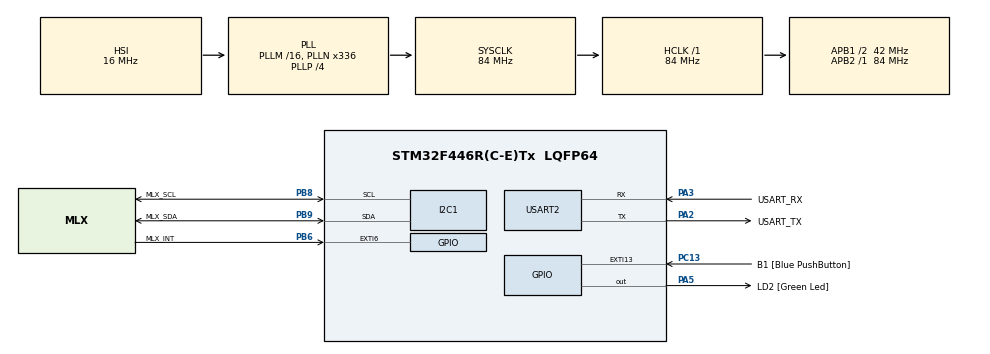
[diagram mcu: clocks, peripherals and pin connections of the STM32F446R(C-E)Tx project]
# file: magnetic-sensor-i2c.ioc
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I2C1.I2C_Mode=I2C_Standard
Mcu.Family=STM32F4
Mcu.Name=STM32F446R(C-E)Tx
Mcu.Package=LQFP64
NVIC.EXTI9_5_IRQn=true\:0\:0\:false\:false\:true\:true\:true\:true
NVIC.PriorityGroup=NVIC_PRIORITYGROUP_0
PA13.GPIO_Label=TMS
PA13.Mode=Serial_Wire
PA13.Signal=SYS_JTMS-SWDIO
PA14.GPIO_Label=TCK
PA14.Mode=Serial_Wire
PA14.Signal=SYS_JTCK-SWCLK
PA2.GPIO_Label=USART_TX
PA2.Mode=Asynchronous
PA2.Signal=USART2_TX
PA3.GPIO_Label=USART_RX
PA3.Mode=Asynchronous
PA3.Signal=USART2_RX
PA5.GPIO_Label=LD2 [Green Led]
PA5.Signal=GPIO_Output
PB3.GPIO_Label=SWO
PB3.Signal=SYS_JTDO-SWO
PB6.GPIO_Label=MLX_INT
PB6.GPIO_PuPd=GPIO_NOPULL
PB6.Signal=GPXTI6
PB8.GPIO_Label=MLX_SCL
PB8.Mode=I2C
PB8.Signal=I2C1_SCL
PB9.GPIO_Label=MLX_SDA
PB9.Mode=I2C
PB9.Signal=I2C1_SDA
PC13.GPIO_Label=B1 [Blue PushButton]
PC13.GPIO_ModeDefaultEXTI=GPIO_MODE_IT_FALLING
PC13.Signal=GPXTI13
PC14-OSC32_IN.Mode=LSE-External-Oscillator
PC14-OSC32_IN.Signal=RCC_OSC32_IN
PC15-OSC32_OUT.Mode=LSE-External-Oscillator
PC15-OSC32_OUT.Signal=RCC_OSC32_OUT
PH0-OSC_IN.Mode=HSE-External-Oscillator
PH0-OSC_IN.Signal=RCC_OSC_IN
PH1-OSC_OUT.Mode=HSE-External-Oscillator
PH1-OSC_OUT.Signal=RCC_OSC_OUT
ProjectManager.HeapSize=0x200
ProjectManager.StackSize=0x400
ProjectManager.TargetToolchain=STM32CubeIDE
RCC.48MHZClocksFreq_Value=84000000
RCC.AHBFreq_Value=84000000
RCC.APB1CLKDivider=RCC_HCLK_DIV2
RCC.APB1Freq_Value=42000000
RCC.APB1TimFreq_Value=84000000
RCC.APB2Freq_Value=84000000
RCC.APB2TimFreq_Value=84000000
RCC.CortexFreq_Value=84000000
RCC.FLatency-AdvancedSettings=FLASH_LATENCY_2
RCC.HCLKFreq_Value=84000000
RCC.HSE_VALUE=8000000
RCC.HSI_VALUE=16000000
RCC.PLLN=336
RCC.PLLP=RCC_PLLP_DIV4
RCC.SYSCLKFreq_VALUE=84000000
RCC.SYSCLKSource=RCC_SYSCLKSOURCE_PLLCLK
RCC.USBFreq_Value=168000000
RCC.VCOOutputFreq_Value=336000000
USART2.VirtualMode=VM_ASYNC
board=NUCLEO-F446RE

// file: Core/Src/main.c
/* USER CODE BEGIN Header */
/**
  ******************************************************************************
  * @file           : main.c
  * @brief          : Main program body
  ******************************************************************************
  * @attention
  *
  * Copyright (c) 2026 STMicroelectronics.
  * All rights reserved.
  *
  * This software is licensed under terms that can be found in the LICENSE file
  * in the root directory of this software component.
  * If no LICENSE file comes with this software, it is provided AS-IS.
  *
  ******************************************************************************
  */
/* USER CODE END Header */
#include "main.h"

/* USER CODE BEGIN Includes */
#include <stdio.h>
/* USER CODE END Includes */

/* USER CODE BEGIN PD */
#define MLX_ADDR (0x0C << 1)
#define CMD_SB    0x10  // Start Burst (for continuous mode)
#define CMD_RM    0x4E  // Read Measurement (X, Y, Z, T)
#define CMD_RT    0xF0  // Reset
/* USER CODE END PD */

I2C_HandleTypeDef hi2c1;

UART_HandleTypeDef huart2;

/* USER CODE BEGIN PV */
uint8_t buffer[10];

int16_t status;
int16_t x_mag;
int16_t y_mag;
int16_t z_mag;

volatile uint8_t data_ready_flag = 0;
/* USER CODE END PV */

void SystemClock_Config(void);
static void MX_GPIO_Init(void);
static void MX_USART2_UART_Init(void);
static void MX_I2C1_Init(void);
/* USER CODE BEGIN PFP */
void MLX90393_PowerOn_Sequence();
void MLX90393_Init();
void MLX90393_VerifyConfig();
void MLX90393_Verify_Reg2();
void MLX90393_ReadData(int16_t *status, int16_t *x, int16_t *y, int16_t *z);
/* USER CODE END PFP */

/* USER CODE BEGIN 0 */
int __io_putchar(int ch) {
    HAL_UART_Transmit(&huart2, (uint8_t *)&ch, 1, 0xFFFF);
    return ch;
}

/* USER CODE END 0 */

int main(void)
{

  /* MCU Configuration--------------------------------------------------------*/

  /* Reset of all peripherals, Initializes the Flash interface and the Systick. */
  HAL_Init();

  /* Configure the system clock */
  SystemClock_Config();

  /* Initialize all configured peripherals */
  MX_GPIO_Init();
  MX_USART2_UART_Init();
  MX_I2C1_Init();
  /* USER CODE BEGIN 2 */
//  MLX90393_Init();
  MLX90393_PowerOn_Sequence();
  printf("Verify Config...\r\n");
  MLX90393_VerifyConfig();
  printf("Verify Reg2...\r\n");
  MLX90393_Verify_Reg2();
  /* USER CODE END 2 */

  /* Infinite loop */
  while (1)
  {

    /* USER CODE BEGIN 3 */
	  if (data_ready_flag) {
		  data_ready_flag = 0;
		  MLX90393_ReadData(&status, &x_mag, &y_mag, &z_mag);
		  printf("Status: 0x%X | X: %d | Y: %d | Z: %d \r\n", status, x_mag, y_mag, z_mag);
	  }

  }
  /* USER CODE END 3 */
}

void SystemClock_Config(void)
{
  RCC_OscInitTypeDef RCC_OscInitStruct = {0};
  RCC_ClkInitTypeDef RCC_ClkInitStruct = {0};

  /** Configure the main internal regulator output voltage
  */
  __HAL_RCC_PWR_CLK_ENABLE();
  __HAL_PWR_VOLTAGESCALING_CONFIG(PWR_REGULATOR_VOLTAGE_SCALE3);

  /** Initializes the RCC Oscillators according to the specified parameters
  * in the RCC_OscInitTypeDef structure.
  */
  RCC_OscInitStruct.OscillatorType = RCC_OSCILLATORTYPE_HSI;
  RCC_OscInitStruct.HSIState = RCC_HSI_ON;
  RCC_OscInitStruct.HSICalibrationValue = RCC_HSICALIBRATION_DEFAULT;
  RCC_OscInitStruct.PLL.PLLState = RCC_PLL_ON;
  RCC_OscInitStruct.PLL.PLLSource = RCC_PLLSOURCE_HSI;
  RCC_OscInitStruct.PLL.PLLM = 16;
  RCC_OscInitStruct.PLL.PLLN = 336;
  RCC_OscInitStruct.PLL.PLLP = RCC_PLLP_DIV4;
  RCC_OscInitStruct.PLL.PLLQ = 2;
  RCC_OscInitStruct.PLL.PLLR = 2;
  if (HAL_RCC_OscConfig(&RCC_OscInitStruct) != HAL_OK)
  {
    Error_Handler();
  }

  /** Initializes the CPU, AHB and APB buses clocks
  */
  RCC_ClkInitStruct.ClockType = RCC_CLOCKTYPE_HCLK|RCC_CLOCKTYPE_SYSCLK
                              |RCC_CLOCKTYPE_PCLK1|RCC_CLOCKTYPE_PCLK2;
  RCC_ClkInitStruct.SYSCLKSource = RCC_SYSCLKSOURCE_PLLCLK;
  RCC_ClkInitStruct.AHBCLKDivider = RCC_SYSCLK_DIV1;
  RCC_ClkInitStruct.APB1CLKDivider = RCC_HCLK_DIV2;
  RCC_ClkInitStruct.APB2CLKDivider = RCC_HCLK_DIV1;

  if (HAL_RCC_ClockConfig(&RCC_ClkInitStruct, FLASH_LATENCY_2) != HAL_OK)
  {
    Error_Handler();
  }
}

static void MX_I2C1_Init(void)
{

  hi2c1.Instance = I2C1;
  hi2c1.Init.ClockSpeed = 100000;
  hi2c1.Init.DutyCycle = I2C_DUTYCYCLE_2;
  hi2c1.Init.OwnAddress1 = 0;
  hi2c1.Init.AddressingMode = I2C_ADDRESSINGMODE_7BIT;
  hi2c1.Init.DualAddressMode = I2C_DUALADDRESS_DISABLE;
  hi2c1.Init.OwnAddress2 = 0;
  hi2c1.Init.GeneralCallMode = I2C_GENERALCALL_DISABLE;
  hi2c1.Init.NoStretchMode = I2C_NOSTRETCH_DISABLE;
  if (HAL_I2C_Init(&hi2c1) != HAL_OK)
  {
    Error_Handler();
  }

}

static void MX_USART2_UART_Init(void)
{

  huart2.Instance = USART2;
  huart2.Init.BaudRate = 115200;
  huart2.Init.WordLength = UART_WORDLENGTH_8B;
  huart2.Init.StopBits = UART_STOPBITS_1;
  huart2.Init.Parity = UART_PARITY_NONE;
  huart2.Init.Mode = UART_MODE_TX_RX;
  huart2.Init.HwFlowCtl = UART_HWCONTROL_NONE;
  huart2.Init.OverSampling = UART_OVERSAMPLING_16;
  if (HAL_UART_Init(&huart2) != HAL_OK)
  {
    Error_Handler();
  }

}

static void MX_GPIO_Init(void)
{
  GPIO_InitTypeDef GPIO_InitStruct = {0};

  /* GPIO Ports Clock Enable */
  __HAL_RCC_GPIOC_CLK_ENABLE();
  __HAL_RCC_GPIOH_CLK_ENABLE();
  __HAL_RCC_GPIOA_CLK_ENABLE();
  __HAL_RCC_GPIOB_CLK_ENABLE();

  /*Configure GPIO pin Output Level */
  HAL_GPIO_WritePin(LD2_GPIO_Port, LD2_Pin, GPIO_PIN_RESET);

  /*Configure GPIO pin : B1_Pin */
  GPIO_InitStruct.Pin = B1_Pin;
  GPIO_InitStruct.Mode = GPIO_MODE_IT_FALLING;
  GPIO_InitStruct.Pull = GPIO_NOPULL;
  HAL_GPIO_Init(B1_GPIO_Port, &GPIO_InitStruct);

  /*Configure GPIO pin : LD2_Pin */
  GPIO_InitStruct.Pin = LD2_Pin;
  GPIO_InitStruct.Mode = GPIO_MODE_OUTPUT_PP;
  GPIO_InitStruct.Pull = GPIO_NOPULL;
  GPIO_InitStruct.Speed = GPIO_SPEED_FREQ_LOW;
  HAL_GPIO_Init(LD2_GPIO_Port, &GPIO_InitStruct);

  /*Configure GPIO pin : MLX_INT_Pin */
  GPIO_InitStruct.Pin = MLX_INT_Pin;
  GPIO_InitStruct.Mode = GPIO_MODE_IT_RISING;
  GPIO_InitStruct.Pull = GPIO_NOPULL;
  HAL_GPIO_Init(MLX_INT_GPIO_Port, &GPIO_InitStruct);

  /* EXTI interrupt init*/
  HAL_NVIC_SetPriority(EXTI9_5_IRQn, 0, 0);
  HAL_NVIC_EnableIRQ(EXTI9_5_IRQn);

}

/* USER CODE BEGIN 4 */
void MLX90393_PowerOn_Sequence() {
    uint8_t cmd;
    uint8_t config[4];

    // 1. EXIT Burst Mode (Crucial: Register writes only work in IDLE)
    cmd = 0x80;
    HAL_I2C_Master_Transmit(&hi2c1, MLX_ADDR, &cmd, 1, 100);
    HAL_Delay(50);

    // 2. Full Reset
    cmd = 0xF0;
    HAL_I2C_Master_Transmit(&hi2c1, MLX_ADDR, &cmd, 1, 100);
    HAL_Delay(100);

    // 3. Write Register 2 (Enable INT_SER_EN)
    // We take the default 0x1D5E and set Bit 15 -> 0x9D5E
    // (Note: Some modules use 0x8000 + default bits. Let's try 0x9D5E)
    config[0] = 0x60; // WR Command
    config[1] = 0x9D; // High Byte (Bit 15 is INT_SER_EN)
    config[2] = 0x5E; // Low Byte
    config[3] = 0x08; // Reg 2 << 2

    HAL_I2C_Master_Transmit(&hi2c1, MLX_ADDR, config, 4, 100);
    HAL_Delay(50);

    // 4. Start Burst (X, Y, Z)
    cmd = 0x1E;
    HAL_I2C_Master_Transmit(&hi2c1, MLX_ADDR, &cmd, 1, 100);
    HAL_Delay(20);
}

void MLX90393_Init() {
    uint8_t cmd[4];

    // 1. Reset the sensor
    cmd[0] = 0xF0;
    HAL_I2C_Master_Transmit(&hi2c1, MLX_ADDR, cmd, 1, 100);
    HAL_Delay(20);

    // 2. Enable INT pin (Write Register 2)
    // Command 0x60 (WR), Data 0x8000 (INT_SER_EN), Reg 0x02 << 2 = 0x08
    uint8_t config_int[] = {0x60, 0x80, 0x00, 0x08};
    HAL_I2C_Master_Transmit(&hi2c1, MLX_ADDR, config_int, 4, 100);
    HAL_Delay(10);

    // 3. Start Burst Mode for X, Y, Z (Command 0x1E)
    cmd[0] = 0x1E;
    HAL_I2C_Master_Transmit(&hi2c1, MLX_ADDR, cmd, 1, 100);
}

void MLX90393_VerifyConfig() {
    uint8_t read_reg_cmd = 0x50 | (0x02 << 2); // RR command for Reg 2
    uint8_t rx[3]; // Status + 2 bytes data
    HAL_I2C_Master_Transmit(&hi2c1, MLX_ADDR, &read_reg_cmd, 1, 100);
    HAL_I2C_Master_Receive(&hi2c1, MLX_ADDR, rx, 3, 100);
    printf("Reg 2 Value: 0x%02X%02X\r\n", rx[1], rx[2]);
}

void MLX90393_Verify_Reg2() {
    uint8_t rr_cmd = 0x58; // RR (Read Register) for Register 2
    uint8_t rx[3];
    HAL_I2C_Master_Transmit(&hi2c1, MLX_ADDR, &rr_cmd, 1, 100);
    HAL_I2C_Master_Receive(&hi2c1, MLX_ADDR, rx, 3, 100);
    // rx[0] is status, rx[1] is High Byte, rx[2] is Low Byte
    printf("Verify Reg 2: Status 0x%02X | Data: 0x%02X%02X\r\n", rx[0], rx[1], rx[2]);
}

void MLX90393_ReadData(int16_t *status, int16_t *x, int16_t *y, int16_t *z) {
    // 0x4E is the RM (Read Measurement) command for X, Y, Z
    uint8_t read_cmd = 0x4E;
    uint8_t data[7];

    HAL_I2C_Master_Transmit(&hi2c1, MLX_ADDR, &read_cmd, 1, 100);

    if (HAL_I2C_Master_Receive(&hi2c1, MLX_ADDR, data, 7, 100) == HAL_OK) {
        *status = data[0];
        *x = (int16_t)((data[1] << 8) | data[2]);
        *y = (int16_t)((data[3] << 8) | data[4]);
        *z = (int16_t)((data[5] << 8) | data[6]);
    }
}

void HAL_GPIO_EXTI_Callback(uint16_t GPIO_Pin) {
    if (GPIO_Pin == MLX_INT_Pin) {
        data_ready_flag = 1;
    }
}
/* USER CODE END 4 */

void Error_Handler(void)
{
  __disable_irq();
  while (1)
  {
  }
}
